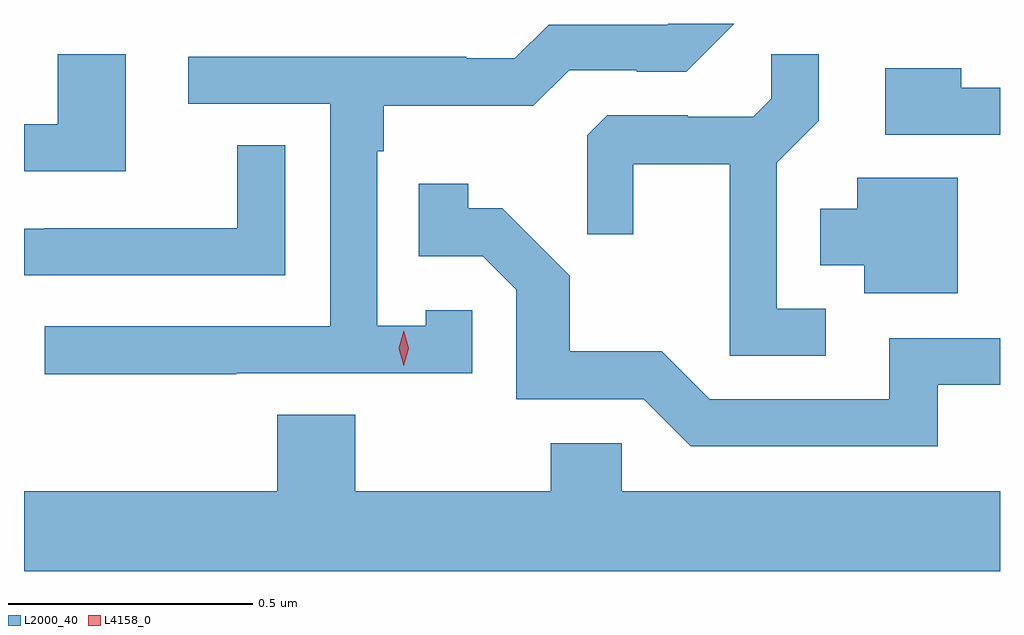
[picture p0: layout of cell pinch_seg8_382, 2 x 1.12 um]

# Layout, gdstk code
import gdstk
lib = gdstk.Library(unit=1e-6, precision=1e-09)
def P(c, l, *ps):  # polygons
    for p in ps: c.add(gdstk.Polygon(p, *l))
L2000_40 = (2000, 40)
L4158_0 = (4158, 0)

pinch_seg8_382 = lib.new_cell('pinch_seg8_382')
P(pinch_seg8_382, L2000_40, [(413.579,1099.59),(414.063,1099.59),(414.063,1099.719),(413.967,1099.719),(413.967,1099.687),(413.868,1099.687),(413.868,1100.045),(413.881,1100.045),(413.881,1100.138),(414.188,1100.138),(414.261,1100.211),(414.4,1100.211),(414.4,1100.208),(414.501,1100.208),(414.599,1100.306),(414.464,1100.306),(414.462,1100.304),(414.219,1100.304),(414.15,1100.235),(414.05,1100.235),(414.05,1100.238),(413.481,1100.238),(413.481,1100.142),(413.772,1100.142),(413.772,1099.686),(413.187,1099.686),(413.187,1099.588),(413.579,1099.588)],
  [(413.353,1100.243),(413.213,1100.243),(413.213,1100.1),(413.144,1100.1),(413.144,1100.004),(413.353,1100.004)],
  [(414.787,1099.722),(414.687,1099.722),(414.687,1100.021),(414.773,1100.107),(414.773,1100.243),(414.675,1100.243),(414.675,1100.152),(414.638,1100.115),(414.504,1100.115),(414.504,1100.118),(414.339,1100.118),(414.298,1100.077),(414.298,1099.875),(414.392,1099.875),(414.392,1100.018),(414.59,1100.018),(414.59,1099.626),(414.787,1099.626)],
  [(415.144,1100.175),(415.065,1100.175),(415.065,1100.215),(414.909,1100.215),(414.909,1100.079),(415.144,1100.079)],
  [(413.679,1100.057),(413.581,1100.057),(413.581,1099.887),(413.185,1099.887),(413.185,1099.886),(413.144,1099.886),(413.144,1099.791),(413.679,1099.791)],
  [(415.057,1099.99),(414.851,1099.99),(414.851,1099.927),(414.776,1099.927),(414.776,1099.811),(414.866,1099.811),(414.866,1099.754),(415.057,1099.754)],
  [(415.016,1099.566),(415.144,1099.566),(415.144,1099.662),(414.917,1099.662),(414.917,1099.536),(414.549,1099.536),(414.451,1099.635),(414.262,1099.635),(414.262,1099.79),(414.124,1099.928),(414.054,1099.928),(414.054,1099.978),(413.953,1099.978),(413.953,1099.83),(414.084,1099.83),(414.153,1099.761),(414.153,1099.536),(414.414,1099.536),(414.51,1099.44),(415.016,1099.44)],
  [(415.144,1099.348),(414.369,1099.348),(414.369,1099.446),(414.223,1099.446),(414.223,1099.348),(413.823,1099.348),(413.823,1099.505),(413.663,1099.505),(413.663,1099.348),(413.144,1099.348),(413.144,1099.184),(415.144,1099.184)])
P(pinch_seg8_382, L4158_0, [(413.922,1099.605),(413.922,1099.605),(413.912,1099.641),(413.922,1099.677),(413.922,1099.677),(413.922,1099.677),(413.932,1099.641),(413.922,1099.605)])

lib.write_gds('pinch_seg8_382.gds')
